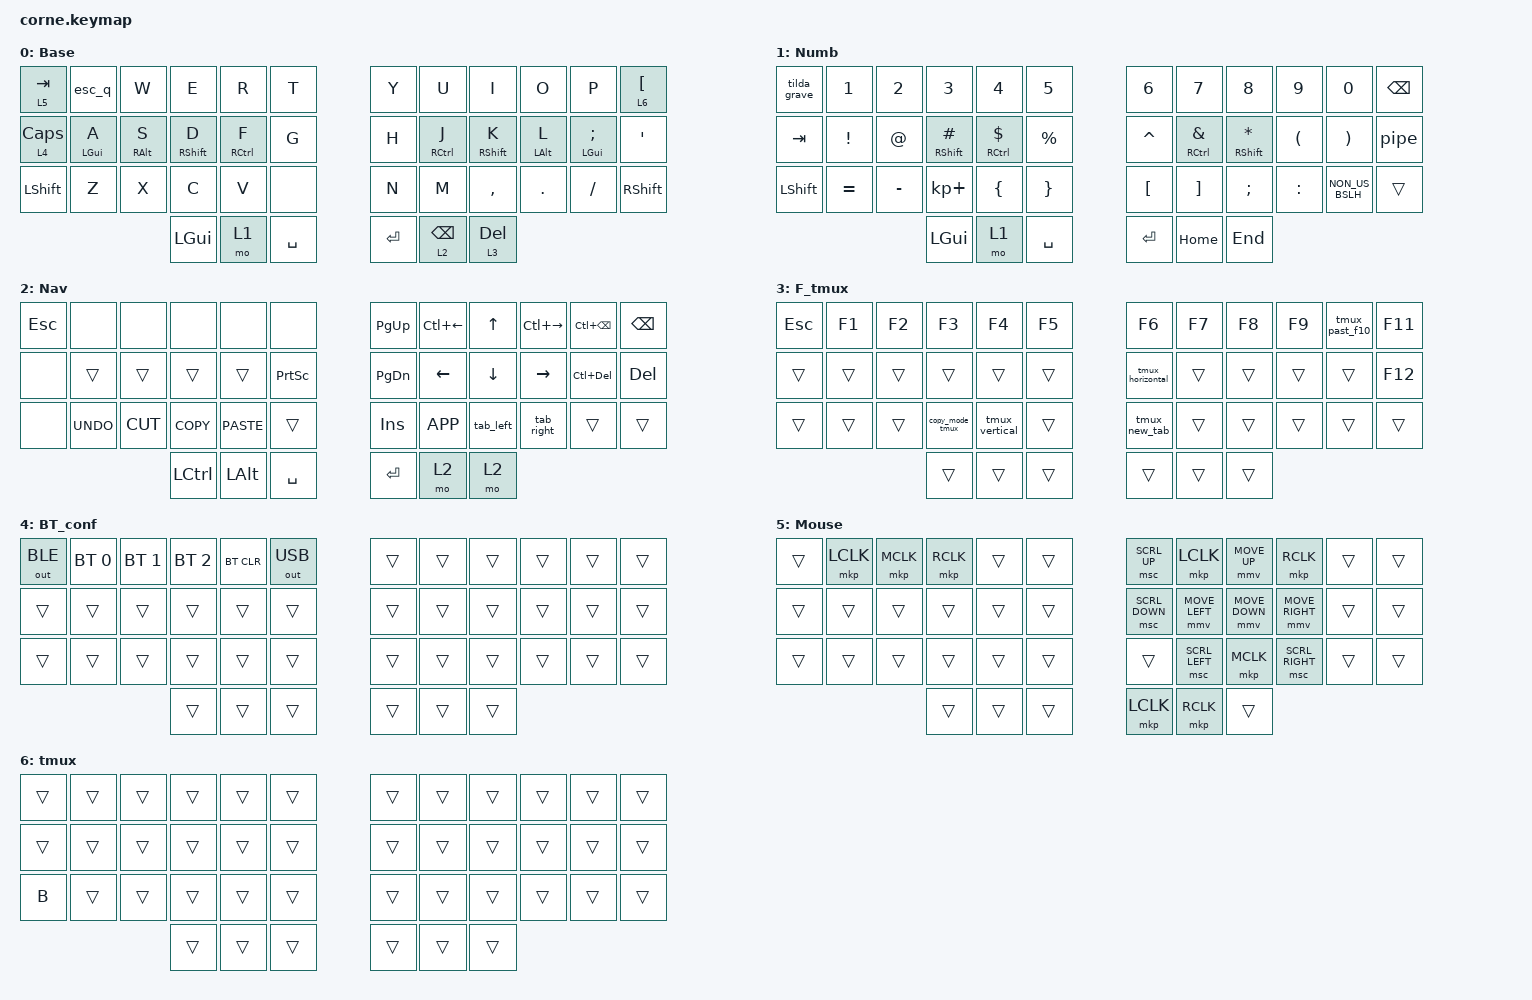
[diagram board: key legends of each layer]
/*
 * Copyright (c) 2020 The ZMK Contributors
 *
 * SPDX-License-Identifier: MIT
 */

#define ZMK_POINTING_DEFAULT_MOVE_VAL 1500  // default: 600

#include <behaviors.dtsi>
#include <dt-bindings/zmk/bt.h>
#include <dt-bindings/zmk/keys.h>
#include <dt-bindings/zmk/outputs.h>
#include <dt-bindings/zmk/pointing.h>

&lt {
};

&mt { flavor = "tap-preferred"; };

/ {
    behaviors {
        esc_q: esc_q {
            compatible = "zmk,behavior-tap-dance";
            label = "ESC_Q";
            #binding-cells = <0>;
            bindings = <&kp Q>, <&kp ESCAPE>;
        };

        tmuxB: tmuxB {
            compatible = "zmk,behavior-tap-dance";
            label = "TMUXB";
            #binding-cells = <0>;
            bindings = <&kp B>, <&kp LC(B)>;
        };

        tmux_past_f10: tmux_past_f10 {
            compatible = "zmk,behavior-tap-dance";
            label = "TMUX_PAST_F10";
            #binding-cells = <0>;
            bindings = <&kp F10>, <&tmux_past>;
        };

        pipe: pipe {
            compatible = "zmk,behavior-tap-dance";
            label = "PIPE";
            #binding-cells = <0>;
            bindings = <&kp PIPE>, <&kp BACKSLASH>;
        };

        tilda_grave: tilda_grave {
            compatible = "zmk,behavior-tap-dance";
            label = "TILDA_GRAVE";
            #binding-cells = <0>;
            bindings = <&kp TILDE>, <&kp GRAVE>;
        };
    };

    macros {
        tab_left: tab_left {
            compatible = "zmk,behavior-macro";
            #binding-cells = <0>;
            bindings = <&kp LC(LS(TAB))>;
            label = "TAB_LEFT";
        };

        tab_right: tab_right {
            compatible = "zmk,behavior-macro";
            #binding-cells = <0>;
            bindings = <&kp LC(TAB)>;
            label = "TAB_RIGHT";
        };

        copy_mode_tmux: copy_mode_tmux {
            compatible = "zmk,behavior-macro";
            #binding-cells = <0>;
            bindings = <&kp LC(B) &kp LEFT_BRACKET>;
            label = "COPY_MODE_TMUX";
        };

        tmux_new_tab: tmux_new_tab {
            compatible = "zmk,behavior-macro";
            #binding-cells = <0>;
            bindings = <&kp LC(B) &kp C>;
            label = "TMUX_NEW_TAB";
        };

        tmux_vertical: tmux_vertical {
            compatible = "zmk,behavior-macro";
            #binding-cells = <0>;
            bindings = <&kp LC(B) &kp PERCENT>;
            label = "TMUX_VERTICAL";
        };

        tmux_past: tmux_past {
            compatible = "zmk,behavior-macro";
            #binding-cells = <0>;
            bindings = <&kp LC(B) &kp RIGHT_BRACKET>;
            label = "TMUX_PAST";
        };

        tmux_horizontal: tmux_horizontal {
            compatible = "zmk,behavior-macro";
            #binding-cells = <0>;
            bindings = <&kp LC(B) &kp DOUBLE_QUOTES>;
            label = "TMUX_HORIZONTAL";
        };
    };

    keymap {
        compatible = "zmk,keymap";

        default_layer {
            // -----------------------------------------------------------------------------------------
            // |  TAB |  Q  |  W  |  E  |  R  |  T  |   |  Y  |  U   |  I  |  O  |  P  | BKSP |
            // | CTRL |  A  |  S  |  D  |  F  |  G  |   |  H  |  J   |  K  |  L  |  ;  |  '   |
            // | SHFT |  Z  |  X  |  C  |  V  |  B  |   |  N  |  M   |  ,  |  .  |  /  | ESC  |
            //                    | GUI | LWR | SPC |   | ENT | RSE  | ALT |

            display-name = "Base";
            bindings = <
&lt 5 TAB   &esc_q      &kp W            &kp E              &kp R                &kp T        &kp Y    &kp U                &kp I              &kp O           &kp P              &lt 6 LEFT_BRACKET
&lt 4 CAPS  &mt LGUI A  &mt RIGHT_ALT S  &mt RIGHT_SHIFT D  &mt RIGHT_CONTROL F  &kp G        &kp H    &mt RIGHT_CONTROL J  &mt RIGHT_SHIFT K  &mt LEFT_ALT L  &mt LEFT_GUI SEMI  &kp SQT
&kp LSHFT   &kp Z       &kp X            &kp C              &kp V                &none        &kp N    &kp M                &kp COMMA          &kp DOT         &kp SLASH          &kp RIGHT_SHIFT
                                         &kp LGUI           &mo 1                &kp SPACE    &kp RET  &lt 2 BACKSPACE      &lt 3 DELETE
            >;
        };

        lower_layer {
            // -----------------------------------------------------------------------------------------
            // |  TAB |  1  |  2  |  3  |  4  |  5  |   |  6  |  7  |  8  |  9  |  0  | BKSP |
            // | BTCLR| BT1 | BT2 | BT3 | BT4 | BT5 |   | LFT | DWN |  UP | RGT |     |      |
            // | SHFT |     |     |     |     |     |   |     |     |     |     |     |      |
            //                    | GUI |     | SPC |   | ENT |     | ALT |

            display-name = "Numb";
            bindings = <
&tilda_grave  &kp N1           &kp N2       &kp N3                &kp N4                    &kp N5             &kp N6            &kp N7                       &kp N8                 &kp N9                &kp N0                 &kp BSPC
&kp TAB       &kp EXCLAMATION  &kp AT_SIGN  &mt RIGHT_SHIFT HASH  &mt RIGHT_CONTROL DOLLAR  &kp PERCENT        &kp CARET         &mt RIGHT_CONTROL AMPERSAND  &mt RIGHT_SHIFT ASTRK  &kp LEFT_PARENTHESIS  &kp RIGHT_PARENTHESIS  &pipe
&kp LSHFT     &kp EQUAL        &kp MINUS    &kp KP_PLUS           &kp LEFT_BRACE            &kp RIGHT_BRACE    &kp LEFT_BRACKET  &kp RIGHT_BRACKET            &kp SEMICOLON          &kp COLON             &kp NON_US_BSLH        &trans
                                            &kp LGUI              &mo 1                     &kp SPACE          &kp RET           &kp HOME                     &kp END
            >;
        };

        raise_layer {
            // -----------------------------------------------------------------------------------------
            // |  TAB |  !  |  @  |  #  |  $  |  %  |   |  ^  |  &  |  *  |  (  |  )  | BKSP |
            // | CTRL |     |     |     |     |     |   |  -  |  =  |  [  |  ]  |  \  |  `   |
            // | SHFT |     |     |     |     |     |   |  _  |  +  |  {  |  }  | "|" |  ~   |
            //                    | GUI |     | SPC |   | ENT |     | ALT |

            display-name = "Nav";
            bindings = <
&kp ESCAPE  &none       &none      &none             &none         &none              &kp PAGE_UP    &kp LC(LEFT_ARROW)  &kp UP     &kp LC(RIGHT_ARROW)  &kp LC(BACKSPACE)  &kp BSPC
&none       &trans      &trans     &trans            &trans        &kp PRINTSCREEN    &kp PAGE_DOWN  &kp LEFT_ARROW      &kp DOWN   &kp RIGHT_ARROW      &kp LC(DELETE)     &kp DELETE
&none       &kp K_UNDO  &kp K_CUT  &kp K_COPY        &kp K_PASTE   &trans             &kp INSERT     &kp K_APP           &tab_left  &tab_right           &trans             &trans
                                   &kp LEFT_CONTROL  &kp LEFT_ALT  &kp SPACE          &kp RET        &mo 2               &mo 2
            >;
        };

        FFF {
            bindings = <
&kp ESC  &kp F1  &kp F2  &kp F3           &kp F4          &kp F5    &kp F6            &kp F7  &kp F8  &kp F9  &tmux_past_f10  &kp F11
&trans   &trans  &trans  &trans           &trans          &trans    &tmux_horizontal  &trans  &trans  &trans  &trans          &kp F12
&trans   &trans  &trans  &copy_mode_tmux  &tmux_vertical  &trans    &tmux_new_tab     &trans  &trans  &trans  &trans          &trans
                         &trans           &trans          &trans    &trans            &trans  &trans
            >;

            label = "F_tmux";
        };

        BT {
            bindings = <
&out OUT_BLE  &bt BT_SEL 0  &bt BT_SEL 1  &bt BT_SEL 2  &bt BT_CLR  &out OUT_USB    &trans  &trans  &trans  &trans  &trans  &trans
&trans        &trans        &trans        &trans        &trans      &trans          &trans  &trans  &trans  &trans  &trans  &trans
&trans        &trans        &trans        &trans        &trans      &trans          &trans  &trans  &trans  &trans  &trans  &trans
                                          &trans        &trans      &trans          &trans  &trans  &trans
            >;

            label = "BT_conf";
        };

        Mouse {
            bindings = <
&trans  &mkp LCLK  &mkp MCLK  &mkp RCLK  &trans  &trans    &msc SCRL_UP    &mkp LCLK       &mmv MOVE_UP    &mkp RCLK        &trans  &trans
&trans  &trans     &trans     &trans     &trans  &trans    &msc SCRL_DOWN  &mmv MOVE_LEFT  &mmv MOVE_DOWN  &mmv MOVE_RIGHT  &trans  &trans
&trans  &trans     &trans     &trans     &trans  &trans    &trans          &msc SCRL_LEFT  &mkp MCLK       &msc SCRL_RIGHT  &trans  &trans
                              &trans     &trans  &trans    &mkp LCLK       &mkp RCLK       &trans
            >;

            label = "Mouse";
        };

        tmux {
            bindings = <
&trans  &trans  &trans  &trans  &trans  &trans    &trans  &trans  &trans  &trans  &trans  &trans
&trans  &trans  &trans  &trans  &trans  &trans    &trans  &trans  &trans  &trans  &trans  &trans
&kp B   &trans  &trans  &trans  &trans  &trans    &trans  &trans  &trans  &trans  &trans  &trans
                        &trans  &trans  &trans    &trans  &trans  &trans
            >;
        };
    };
};
